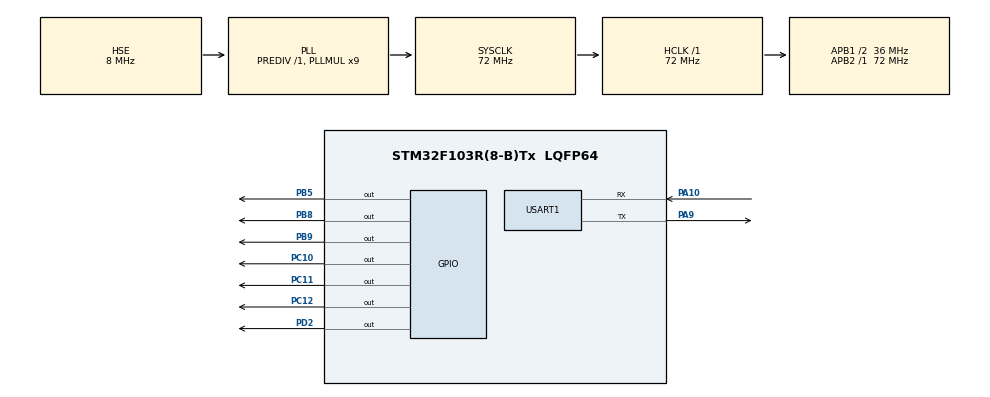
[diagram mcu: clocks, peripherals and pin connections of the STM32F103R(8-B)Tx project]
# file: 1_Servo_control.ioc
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Mcu.Family=STM32F1
Mcu.Name=STM32F103R(8-B)Tx
Mcu.Package=LQFP64
NVIC.PriorityGroup=NVIC_PRIORITYGROUP_4
NVIC.TIM3_IRQn=true\:0\:0\:false\:false\:true\:true\:true\:true
NVIC.USART1_IRQn=true\:0\:0\:false\:false\:true\:true\:true\:true
PA10.Mode=Asynchronous
PA10.Signal=USART1_RX
PA13.Mode=Serial_Wire
PA13.Signal=SYS_JTMS-SWDIO
PA14.Mode=Serial_Wire
PA14.Signal=SYS_JTCK-SWCLK
PA9.Mode=Asynchronous
PA9.Signal=USART1_TX
PB5.GPIO_Speed=GPIO_SPEED_FREQ_HIGH
PB5.Signal=GPIO_Output
PB8.GPIO_Speed=GPIO_SPEED_FREQ_HIGH
PB8.Signal=GPIO_Output
PB9.Signal=GPIO_Output
PC10.GPIO_Speed=GPIO_SPEED_FREQ_HIGH
PC10.Signal=GPIO_Output
PC11.GPIO_Speed=GPIO_SPEED_FREQ_HIGH
PC11.Signal=GPIO_Output
PC12.GPIO_Speed=GPIO_SPEED_FREQ_HIGH
PC12.Signal=GPIO_Output
PD0-OSC_IN.Mode=HSE-External-Oscillator
PD0-OSC_IN.Signal=RCC_OSC_IN
PD1-OSC_OUT.Mode=HSE-External-Oscillator
PD1-OSC_OUT.Signal=RCC_OSC_OUT
PD2.GPIO_Speed=GPIO_SPEED_FREQ_HIGH
PD2.Signal=GPIO_Output
ProjectManager.HeapSize=0x1600
ProjectManager.StackSize=0x3200
ProjectManager.TargetToolchain=STM32CubeIDE
RCC.AHBFreq_Value=72000000
RCC.APB1CLKDivider=RCC_HCLK_DIV2
RCC.APB1Freq_Value=36000000
RCC.APB1TimFreq_Value=72000000
RCC.APB2Freq_Value=72000000
RCC.APB2TimFreq_Value=72000000
RCC.HCLKFreq_Value=72000000
RCC.PLLMUL=RCC_PLL_MUL9
RCC.PLLSourceVirtual=RCC_PLLSOURCE_HSE
RCC.SYSCLKFreq_VALUE=72000000
RCC.SYSCLKSource=RCC_SYSCLKSOURCE_PLLCLK
RCC.USBFreq_Value=72000000
TIM3.Period=19
TIM3.Prescaler=71
USART1.VirtualMode=VM_ASYNC
VP_TIM3_VS_ClockSourceINT.Mode=Internal
board=custom

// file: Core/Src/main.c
/* USER CODE BEGIN Header */
/**
  ******************************************************************************
  * @file           : main.c
  * @brief          : Main program body
  ******************************************************************************
  * @attention
  *
  * Copyright (c) 2023 STMicroelectronics.
  * All rights reserved.
  *
  * This software is licensed under terms that can be found in the LICENSE file
  * in the root directory of this software component.
  * If no LICENSE file comes with this software, it is provided AS-IS.
  *
  ******************************************************************************
  */
/* USER CODE END Header */
#include "main.h"

/* USER CODE BEGIN Includes */
int8_t maxabs(int8_t a[],int8_t len);
int8_t myabs(int8_t a);
int8_t IS_ACCEPT_RIGHT(uint8_t * RXBUFFER,int length);
/* USER CODE END Includes */

/* USER CODE BEGIN PTD */
typedef struct
{
	GPIO_TypeDef *GPIOx;
	uint16_t GPIO_Pin;
}ARM;

ARM ARM_ARRAY[6];
/* USER CODE END PTD */

TIM_HandleTypeDef htim3;

UART_HandleTypeDef huart1;

/* USER CODE BEGIN PV */
int TIM_COUNT = 0;
int ARM_DEGREE[6] = {75,75,75,75,75,75};  //
int ARM_DEGREE_LAST[6] = {75,75,75,75,75,75};
char high[6] ={0};
uint8_t RXBUFFER[9]={0,0,0,0,0,0,0,0,0};
int RXFLAG=0;
uint8_t test=1;
uint8_t test2=2;
uint8_t mode; //0:default(fast) 1:middle 2:slow

/* USER CODE END PV */

void SystemClock_Config(void);
static void MX_GPIO_Init(void);
static void MX_TIM3_Init(void);
static void MX_USART1_UART_Init(void);
/* USER CODE BEGIN PFP */
void ARM_INIT();
/* USER CODE END PFP */

int main(void)
{

  /* MCU Configuration--------------------------------------------------------*/

  /* Reset of all peripherals, Initializes the Flash interface and the Systick. */
  HAL_Init();

  /* Configure the system clock */
  SystemClock_Config();

  /* Initialize all configured peripherals */
  MX_GPIO_Init();
  MX_TIM3_Init();
  MX_USART1_UART_Init();
  /* USER CODE BEGIN 2 */
  ARM_INIT();//Init ARM Struct
  __HAL_TIM_CLEAR_IT(&htim3, TIM_IT_UPDATE);//!!!!!!!!!!!!!!!!!!!PSC72	ARR10
  HAL_TIM_Base_Start_IT(&htim3);

  HAL_Delay(3000);
  ARM_DEGREE[5] = 25;   //open gripper

  while(HAL_UART_Receive_IT(&huart1, RXBUFFER, 9) != HAL_OK);
  while(HAL_UART_Transmit_IT(&huart1, RXBUFFER, 9)!= HAL_OK);

  /* USER CODE END 2 */

  /* Infinite loop */
  while (1)
  {

    /* USER CODE BEGIN 3 */
	  if(RXFLAG==1)
	  	  {
//		  	  HAL_UART_Transmit_IT(&huart1, &test, 1);
	  		  IS_ACCEPT_RIGHT(RXBUFFER,9);
	  		  RXFLAG=0;
	  	  }

//	  int step=1;
//	  ARM_DEGREE[4]+=step;
//	  HAL_Delay(100);  //  36deg/s
//	  if(ARM_DEGREE[4]>125)
//	  {
//		  ARM_DEGREE[4]=75;
//	  }

  }
  /* USER CODE END 3 */
}

void SystemClock_Config(void)
{
  RCC_OscInitTypeDef RCC_OscInitStruct = {0};
  RCC_ClkInitTypeDef RCC_ClkInitStruct = {0};

  /** Initializes the RCC Oscillators according to the specified parameters
  * in the RCC_OscInitTypeDef structure.
  */
  RCC_OscInitStruct.OscillatorType = RCC_OSCILLATORTYPE_HSE;
  RCC_OscInitStruct.HSEState = RCC_HSE_ON;
  RCC_OscInitStruct.HSEPredivValue = RCC_HSE_PREDIV_DIV1;
  RCC_OscInitStruct.HSIState = RCC_HSI_ON;
  RCC_OscInitStruct.PLL.PLLState = RCC_PLL_ON;
  RCC_OscInitStruct.PLL.PLLSource = RCC_PLLSOURCE_HSE;
  RCC_OscInitStruct.PLL.PLLMUL = RCC_PLL_MUL9;
  if (HAL_RCC_OscConfig(&RCC_OscInitStruct) != HAL_OK)
  {
    Error_Handler();
  }

  /** Initializes the CPU, AHB and APB buses clocks
  */
  RCC_ClkInitStruct.ClockType = RCC_CLOCKTYPE_HCLK|RCC_CLOCKTYPE_SYSCLK
                              |RCC_CLOCKTYPE_PCLK1|RCC_CLOCKTYPE_PCLK2;
  RCC_ClkInitStruct.SYSCLKSource = RCC_SYSCLKSOURCE_PLLCLK;
  RCC_ClkInitStruct.AHBCLKDivider = RCC_SYSCLK_DIV1;
  RCC_ClkInitStruct.APB1CLKDivider = RCC_HCLK_DIV2;
  RCC_ClkInitStruct.APB2CLKDivider = RCC_HCLK_DIV1;

  if (HAL_RCC_ClockConfig(&RCC_ClkInitStruct, FLASH_LATENCY_2) != HAL_OK)
  {
    Error_Handler();
  }
}

static void MX_TIM3_Init(void)
{

  TIM_ClockConfigTypeDef sClockSourceConfig = {0};
  TIM_MasterConfigTypeDef sMasterConfig = {0};

  htim3.Instance = TIM3;
  htim3.Init.Prescaler = 71;
  htim3.Init.CounterMode = TIM_COUNTERMODE_UP;
  htim3.Init.Period = 19;
  htim3.Init.ClockDivision = TIM_CLOCKDIVISION_DIV1;
  htim3.Init.AutoReloadPreload = TIM_AUTORELOAD_PRELOAD_DISABLE;
  if (HAL_TIM_Base_Init(&htim3) != HAL_OK)
  {
    Error_Handler();
  }
  sClockSourceConfig.ClockSource = TIM_CLOCKSOURCE_INTERNAL;
  if (HAL_TIM_ConfigClockSource(&htim3, &sClockSourceConfig) != HAL_OK)
  {
    Error_Handler();
  }
  sMasterConfig.MasterOutputTrigger = TIM_TRGO_RESET;
  sMasterConfig.MasterSlaveMode = TIM_MASTERSLAVEMODE_DISABLE;
  if (HAL_TIMEx_MasterConfigSynchronization(&htim3, &sMasterConfig) != HAL_OK)
  {
    Error_Handler();
  }

}

static void MX_USART1_UART_Init(void)
{

  huart1.Instance = USART1;
  huart1.Init.BaudRate = 115200;
  huart1.Init.WordLength = UART_WORDLENGTH_8B;
  huart1.Init.StopBits = UART_STOPBITS_1;
  huart1.Init.Parity = UART_PARITY_NONE;
  huart1.Init.Mode = UART_MODE_TX_RX;
  huart1.Init.HwFlowCtl = UART_HWCONTROL_NONE;
  huart1.Init.OverSampling = UART_OVERSAMPLING_16;
  if (HAL_UART_Init(&huart1) != HAL_OK)
  {
    Error_Handler();
  }

}

static void MX_GPIO_Init(void)
{
  GPIO_InitTypeDef GPIO_InitStruct = {0};

  /* GPIO Ports Clock Enable */
  __HAL_RCC_GPIOD_CLK_ENABLE();
  __HAL_RCC_GPIOA_CLK_ENABLE();
  __HAL_RCC_GPIOC_CLK_ENABLE();
  __HAL_RCC_GPIOB_CLK_ENABLE();

  /*Configure GPIO pin Output Level */
  HAL_GPIO_WritePin(GPIOC, GPIO_PIN_10|GPIO_PIN_11|GPIO_PIN_12, GPIO_PIN_RESET);

  /*Configure GPIO pin Output Level */
  HAL_GPIO_WritePin(GPIOD, GPIO_PIN_2, GPIO_PIN_RESET);

  /*Configure GPIO pin Output Level */
  HAL_GPIO_WritePin(GPIOB, GPIO_PIN_5|GPIO_PIN_8|GPIO_PIN_9, GPIO_PIN_RESET);

  /*Configure GPIO pins : PC10 PC11 PC12 */
  GPIO_InitStruct.Pin = GPIO_PIN_10|GPIO_PIN_11|GPIO_PIN_12;
  GPIO_InitStruct.Mode = GPIO_MODE_OUTPUT_PP;
  GPIO_InitStruct.Pull = GPIO_NOPULL;
  GPIO_InitStruct.Speed = GPIO_SPEED_FREQ_HIGH;
  HAL_GPIO_Init(GPIOC, &GPIO_InitStruct);

  /*Configure GPIO pin : PD2 */
  GPIO_InitStruct.Pin = GPIO_PIN_2;
  GPIO_InitStruct.Mode = GPIO_MODE_OUTPUT_PP;
  GPIO_InitStruct.Pull = GPIO_NOPULL;
  GPIO_InitStruct.Speed = GPIO_SPEED_FREQ_HIGH;
  HAL_GPIO_Init(GPIOD, &GPIO_InitStruct);

  /*Configure GPIO pins : PB5 PB8 */
  GPIO_InitStruct.Pin = GPIO_PIN_5|GPIO_PIN_8;
  GPIO_InitStruct.Mode = GPIO_MODE_OUTPUT_PP;
  GPIO_InitStruct.Pull = GPIO_NOPULL;
  GPIO_InitStruct.Speed = GPIO_SPEED_FREQ_HIGH;
  HAL_GPIO_Init(GPIOB, &GPIO_InitStruct);

  /*Configure GPIO pin : PB9 */
  GPIO_InitStruct.Pin = GPIO_PIN_9;
  GPIO_InitStruct.Mode = GPIO_MODE_OUTPUT_PP;
  GPIO_InitStruct.Pull = GPIO_NOPULL;
  GPIO_InitStruct.Speed = GPIO_SPEED_FREQ_LOW;
  HAL_GPIO_Init(GPIOB, &GPIO_InitStruct);

}

/* USER CODE BEGIN 4 */
void HAL_TIM_PeriodElapsedCallback(TIM_HandleTypeDef *htim)  //25-125  -> -90 -- +90  1.8deg/int
{
	static int i=0;
	if (htim == &htim3)
	{
		TIM_COUNT++;
		for(i=0;i<6;i++)
		{
			if(TIM_COUNT<=ARM_DEGREE[i])
				{
						if(high[i]==0)
							{
							HAL_GPIO_WritePin(ARM_ARRAY[i].GPIOx,ARM_ARRAY[i].GPIO_Pin,GPIO_PIN_SET);
							high[i]=1;
							}

				}
			else
				{
					if(high[i]==1)
					{
						HAL_GPIO_TogglePin(ARM_ARRAY[i].GPIOx,ARM_ARRAY[i].GPIO_Pin);
						high[i]=0;
					}
				}
		}

		if(TIM_COUNT>=1001)
			{
				TIM_COUNT = 1;
			}
	}
	__HAL_TIM_CLEAR_IT(&htim3, TIM_IT_UPDATE);

}
void ARM_INIT()
{
	ARM_ARRAY[0].GPIOx = GPIOB;
	ARM_ARRAY[0].GPIO_Pin = GPIO_PIN_8;
	ARM_ARRAY[1].GPIOx = GPIOB;
	ARM_ARRAY[1].GPIO_Pin = GPIO_PIN_5;
	ARM_ARRAY[2].GPIOx = GPIOD;
	ARM_ARRAY[2].GPIO_Pin = GPIO_PIN_2;
	ARM_ARRAY[3].GPIOx = GPIOC;
	ARM_ARRAY[3].GPIO_Pin = GPIO_PIN_12;
	ARM_ARRAY[4].GPIOx = GPIOC;
	ARM_ARRAY[4].GPIO_Pin = GPIO_PIN_11;
	ARM_ARRAY[5].GPIOx = GPIOC;
	ARM_ARRAY[5].GPIO_Pin = GPIO_PIN_10;

}

void HAL_UART_RxCpltCallback(UART_HandleTypeDef *huart)
{
	RXFLAG=1;
	while(HAL_UART_Receive_IT(&huart1, RXBUFFER, 9) != HAL_OK);
	//while(HAL_UART_Transmit_IT(&huart1, RXBUFFER, 9)!= HAL_OK);

}
int8_t IS_ACCEPT_RIGHT(uint8_t * RXBUFFER,int length)
{
	int8_t i=0;
	int8_t j=0;
	int8_t step_counter=0;
//	float total_steps = 40;  //2 seconds
	uint8_t position[6]={0,0,0,0,0,0};    //0-180
	int8_t delta[6]={0,0,0,0,0,0};

	int8_t step[6]={1,1,1,1,1,1};
//	int arm_index=0;  //1-6
	if((RXBUFFER[0])==0xaa&&RXBUFFER[8]==0xff)
	{
		mode = RXBUFFER[7];
		for(i=0;i<6;i++)
		{
			position[i]=(RXBUFFER[i+1]);

		}

	}
	if(mode==0x00)
	{
		for(i=0;i<6;i++)
		{
			ARM_DEGREE[i]=25+100*position[i]/180;
		}

	}
	if(mode==0x01)
	{
		for(i=0;i<6;i++)
		{
			delta[i]=25+(100*position[i])/180-(uint8_t)ARM_DEGREE[i];
			if(delta[i]<0) {step[i]=-1;}
		}

//maxabs(delta,6)
			for(i=0;i<maxabs(delta,6);i++)
					{
						for(j=0;j<6;j++)
						{	if(ARM_DEGREE[j]==(25+(100*position[j])/180))
							{
							}
							else ARM_DEGREE[j]+=step[j];
						}
						HAL_Delay(10);   //5S 180DEG

					}

//			while(HAL_UART_Receive_IT(&huart1, RXBUFFER, 9) != HAL_OK)
//			{
//				HAL_UART_Transmit_IT(&huart1, &test, 1);
//			}

//			for(i=0;i<(-delta);i++)
//					{
//						ARM_DEGREE[arm_index-1]+=(-step);
//						HAL_Delay(50);   //5S 180DEG
//					}

	}
	HAL_UART_Transmit_IT(&huart1, &mode, 1);
}

int8_t maxabs(int8_t a[],int8_t len)
{
	int8_t copy[len];
	int8_t i=0;
    for(i=0;i<len;i++)
    {
        copy[i]=a[i];
    }

    int8_t temp;
	for(i=0;i<len-1;i++)
	{
		if(myabs(copy[i+1])<myabs(copy[i]))
		{
			temp=copy[i];
			copy[i]=copy[i+1];
			copy[i+1]=temp;
		}
	}
	return myabs(copy[len-1]);
}

int8_t myabs(int8_t a)
{
	if(a>=0) return a;
	else return -a;
	}
//HAL_GPIO_WritePin()
//void PWM_CONTROL(GPIO_TypeDef GPIOX,uint16_t GPIO_Pin,int degree)//-90__+90 -> 50__250
//{
//	;
//}
//int * count()
//{
//
//}
/* USER CODE END 4 */

void Error_Handler(void)
{
  __disable_irq();
  while (1)
  {
  }
}
